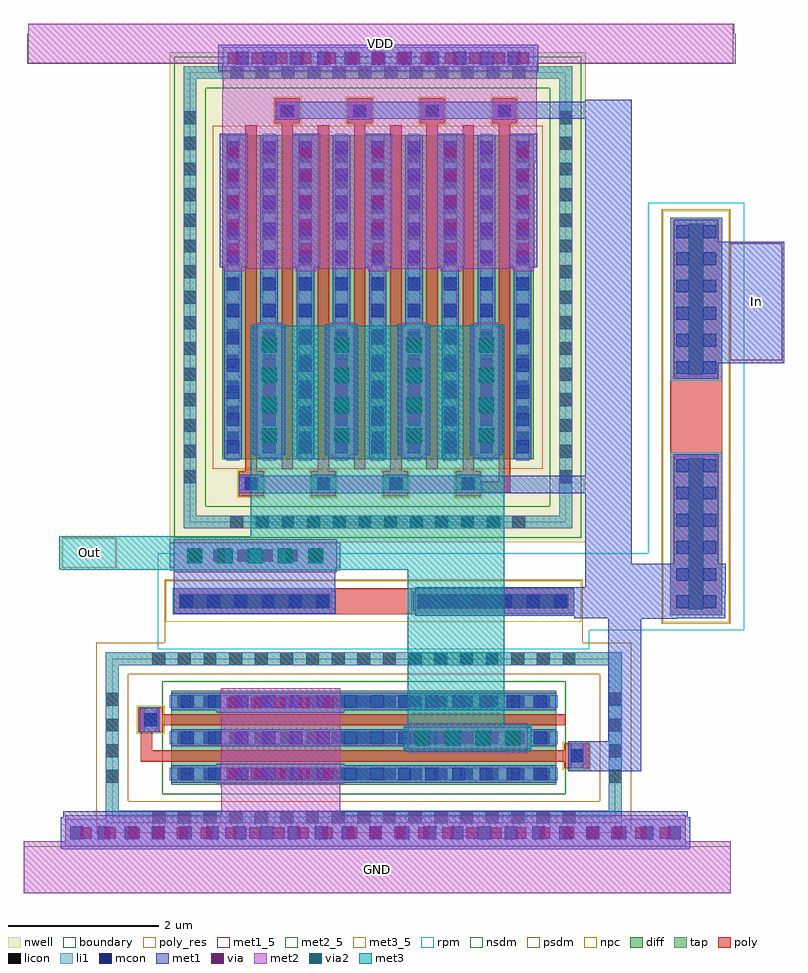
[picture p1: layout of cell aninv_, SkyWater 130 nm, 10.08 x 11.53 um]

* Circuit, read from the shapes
.subckt aninv_ GND In Out VDD
XM1 Out n1 GND GND sky130_fd_pr__nfet_01v8 w=5.1 l=0.15 m=2
XM2 Out n1 VDD VDD sky130_fd_pr__pfet_01v8 w=4.3 l=0.15 m=8
XR3 n1 Out GND sky130_fd_pr__res_high_po w=0.35 l=1
XR4 In n1 GND sky130_fd_pr__res_high_po w=0.69 l=0.95
.ends

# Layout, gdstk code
from math import pi, radians
import gdstk
lib = gdstk.Library(unit=1e-6, precision=1e-09)
def R(c, l, rs):  # rectangles x0, y0, x1, y1
    for r in rs: c.add(gdstk.rectangle(r[:2], r[2:], *l))
def A(c, l, x, y, w, h, nx, ny, dx, dy):  # array of equal rectangles
    R(c, l, [(x+i*dx, y+j*dy, x+i*dx+w, y+j*dy+h) for i in range(nx) for j in range(ny)])
nwell = (64, 20)
diff = (65, 20)
tap = (65, 44)
poly_res = (66, 13)
poly = (66, 20)
licon = (66, 44)
li1 = (67, 20)
mcon = (67, 44)
met1_5 = (68, 5)
met1 = (68, 20)
via = (68, 44)
met2_5 = (69, 5)
met2 = (69, 20)
via2 = (69, 44)
met3_5 = (70, 5)
met3 = (70, 20)
rpm = (86, 20)
nsdm = (93, 44)
psdm = (94, 20)
npc = (95, 20)
boundary = (235, 4)

sky130_fd_pr__res_high_p = lib.new_cell('sky130_fd_pr__res_high_po_0p69_7JPRER')
R(sky130_fd_pr__res_high_p, poly_res, [(-0.345,-0.535,0.345,0.535)])
R(sky130_fd_pr__res_high_p, poly, [(-0.345,-2.635,0.345,2.635)])
R(sky130_fd_pr__res_high_p, licon, [(-0.095,-2.555,0.095,-0.555), (-0.095,0.555,0.095,2.555)])
R(sky130_fd_pr__res_high_p, li1, [(-0.345,-2.635,0.345,-0.475), (-0.345,0.475,0.345,2.635)])
A(sky130_fd_pr__res_high_p, mcon, -0.265, -2.54, 0.17, 0.17, 1, 6, 0, 0.36)
A(sky130_fd_pr__res_high_p, mcon, 0.095, -2.54, 0.17, 0.17, 1, 6, 0, 0.36)
A(sky130_fd_pr__res_high_p, mcon, -0.265, 0.565, 0.17, 0.17, 1, 6, 0, 0.36)
A(sky130_fd_pr__res_high_p, mcon, 0.095, 0.565, 0.17, 0.17, 1, 6, 0, 0.36)
R(sky130_fd_pr__res_high_p, met1, [(-0.295,-2.605,0.295,-0.5), (-0.295,0.5,0.295,2.605)])
R(sky130_fd_pr__res_high_p, rpm, [(-0.635,-2.835,0.635,2.835)])
R(sky130_fd_pr__res_high_p, psdm, [(-0.455,-2.745,0.455,2.745)])
R(sky130_fd_pr__res_high_p, npc, [(-0.44,-2.73,0.44,2.73)])

c_sky130_fd_pr__res_high_p = lib.new_cell('sky130_fd_pr__res_high_po_0p35_C72MAQ')
R(c_sky130_fd_pr__res_high_p, poly_res, [(-0.175,-0.56,0.175,0.56)])
R(c_sky130_fd_pr__res_high_p, poly, [(-0.175,-2.66,0.175,2.66)])
R(c_sky130_fd_pr__res_high_p, licon, [(-0.095,-2.58,0.095,-0.58), (-0.095,0.58,0.095,2.58)])
R(c_sky130_fd_pr__res_high_p, li1, [(-0.175,-2.66,0.175,-0.5), (-0.175,0.5,0.175,2.66)])
A(c_sky130_fd_pr__res_high_p, mcon, -0.085, -2.565, 0.17, 0.17, 1, 6, 0, 0.36)
A(c_sky130_fd_pr__res_high_p, mcon, -0.085, 0.59, 0.17, 0.17, 1, 6, 0, 0.36)
R(c_sky130_fd_pr__res_high_p, met1, [(-0.125,-2.63,0.125,-0.525), (-0.125,0.525,0.125,2.63)])
R(c_sky130_fd_pr__res_high_p, rpm, [(-0.635,-2.86,0.635,2.86)])
R(c_sky130_fd_pr__res_high_p, psdm, [(-0.285,-2.77,0.285,2.77)])
R(c_sky130_fd_pr__res_high_p, npc, [(-0.27,-2.755,0.27,2.755)])

sky130_fd_pr__pfet_01v8_ = lib.new_cell('sky130_fd_pr__pfet_01v8_396TWK')
R(sky130_fd_pr__pfet_01v8_, nwell, [(-2.755,-3.245,2.755,3.245)])
R(sky130_fd_pr__pfet_01v8_, diff, [(-2.065,-2.15,2.065,2.15)])
R(sky130_fd_pr__pfet_01v8_, tap, [(-2.575,-3.065,2.575,-2.895), (-2.575,-2.895,-2.405,2.895), (2.405,-2.895,2.575,2.895), (-2.575,2.895,2.575,3.065)])
A(sky130_fd_pr__pfet_01v8_, poly, -1.845, -2.635, 0.33, 0.33, 4, 1, 0.96, 0)
A(sky130_fd_pr__pfet_01v8_, poly, -1.755, -2.305, 0.15, 4.585, 4, 1, 0.96, 0)
A(sky130_fd_pr__pfet_01v8_, poly, -1.275, -2.28, 0.15, 4.585, 4, 1, 0.96, 0)
A(sky130_fd_pr__pfet_01v8_, poly, -1.365, 2.305, 0.33, 0.33, 4, 1, 0.96, 0)
A(sky130_fd_pr__pfet_01v8_, licon, -1.955, -3.065, 0.17, 0.17, 12, 2, 0.34, 5.96)
A(sky130_fd_pr__pfet_01v8_, licon, -1.765, -2.555, 0.17, 0.17, 4, 1, 0.96, 0)
A(sky130_fd_pr__pfet_01v8_, licon, -2.575, -2.465, 0.17, 0.17, 1, 15, 0, 0.34)
A(sky130_fd_pr__pfet_01v8_, licon, 2.405, -2.465, 0.17, 0.17, 1, 15, 0, 0.34)
A(sky130_fd_pr__pfet_01v8_, licon, -2.005, -1.955, 0.17, 0.17, 9, 12, 0.48, 0.34)
A(sky130_fd_pr__pfet_01v8_, licon, -1.285, 2.385, 0.17, 0.17, 4, 1, 0.96, 0)
A(sky130_fd_pr__pfet_01v8_, li1, -1.845, -2.555, 0.33, 0.17, 4, 1, 0.96, 0)
A(sky130_fd_pr__pfet_01v8_, li1, -2.005, -2.17, 0.17, 4.34, 9, 1, 0.48, 0)
A(sky130_fd_pr__pfet_01v8_, li1, -1.365, 2.385, 0.33, 0.17, 4, 1, 0.96, 0)
R(sky130_fd_pr__pfet_01v8_, li1, [(-2.575,-3.065,2.575,-2.895), (-2.575,-2.895,-2.405,2.895), (2.405,-2.895,2.575,2.895), (-2.575,2.895,2.575,3.065)])
A(sky130_fd_pr__pfet_01v8_, mcon, -1.765, -2.555, 0.17, 0.17, 4, 1, 0.96, 0)
A(sky130_fd_pr__pfet_01v8_, mcon, -2.005, -2.065, 0.17, 0.17, 9, 12, 0.48, 0.36)
A(sky130_fd_pr__pfet_01v8_, mcon, -1.285, 2.385, 0.17, 0.17, 4, 1, 0.96, 0)
A(sky130_fd_pr__pfet_01v8_, met1, -1.825, -2.585, 0.29, 0.23, 4, 1, 0.96, 0)
A(sky130_fd_pr__pfet_01v8_, met1, -2.035, -2.15, 0.23, 4.3, 9, 1, 0.48, 0)
A(sky130_fd_pr__pfet_01v8_, met1, -1.345, 2.355, 0.29, 0.23, 4, 1, 0.96, 0)
R(sky130_fd_pr__pfet_01v8_, nsdm, [(-2.7,-3.19,2.7,-2.77), (-2.7,-2.77,-2.28,2.77), (2.28,-2.77,2.7,2.77), (-2.7,2.77,2.7,3.19)])
R(sky130_fd_pr__pfet_01v8_, psdm, [(-2.19,-2.275,2.19,2.275)])
A(sky130_fd_pr__pfet_01v8_, npc, -1.865, -2.655, 0.37, 0.37, 4, 1, 0.96, 0)
A(sky130_fd_pr__pfet_01v8_, npc, -1.385, 2.285, 0.37, 0.37, 4, 1, 0.96, 0)
R(sky130_fd_pr__pfet_01v8_, boundary, [(-2.49,-2.98,2.49,2.98)])

sky130_fd_pr__nfet_01v8_ = lib.new_cell('sky130_fd_pr__nfet_01v8_XG2GE7')
R(sky130_fd_pr__nfet_01v8_, diff, [(-0.625,-2.55,0.625,2.55)])
R(sky130_fd_pr__nfet_01v8_, tap, [(-1.135,-3.42,1.135,-3.25), (-1.135,-3.25,-0.965,3.25), (0.965,-3.25,1.135,3.25), (-1.135,3.25,1.135,3.42)])
R(sky130_fd_pr__nfet_01v8_, poly, [(-0.405,-2.99,-0.075,-2.66), (0.165,-2.68,0.315,2.66), (-0.315,-2.66,-0.165,2.68), (0.075,2.66,0.405,2.99)])
A(sky130_fd_pr__nfet_01v8_, licon, -0.595, -3.42, 0.17, 0.17, 4, 2, 0.34, 6.67)
A(sky130_fd_pr__nfet_01v8_, licon, -1.135, -2.805, 0.17, 0.17, 1, 17, 0, 0.34)
A(sky130_fd_pr__nfet_01v8_, licon, 0.965, -2.805, 0.17, 0.17, 1, 17, 0, 0.34)
A(sky130_fd_pr__nfet_01v8_, licon, -0.565, -2.465, 0.17, 0.17, 3, 15, 0.48, 0.34)
R(sky130_fd_pr__nfet_01v8_, licon, [(-0.325,-2.91,-0.155,-2.74), (0.155,2.74,0.325,2.91)])
A(sky130_fd_pr__nfet_01v8_, li1, -0.565, -2.57, 0.17, 5.14, 3, 1, 0.48, 0)
R(sky130_fd_pr__nfet_01v8_, li1, [(-1.135,-3.42,1.135,-3.25), (-1.135,-3.25,-0.965,3.25), (0.965,-3.25,1.135,3.25), (-0.405,-2.91,-0.075,-2.74), (0.075,2.74,0.405,2.91), (-1.135,3.25,1.135,3.42)])
A(sky130_fd_pr__nfet_01v8_, mcon, -0.565, -2.425, 0.17, 0.17, 3, 14, 0.48, 0.36)
R(sky130_fd_pr__nfet_01v8_, mcon, [(-0.325,-2.91,-0.155,-2.74), (0.155,2.74,0.325,2.91)])
A(sky130_fd_pr__nfet_01v8_, met1, -0.595, -2.55, 0.23, 5.1, 3, 1, 0.48, 0)
R(sky130_fd_pr__nfet_01v8_, met1, [(-0.385,-2.94,-0.095,-2.71), (0.095,2.71,0.385,2.94)])
R(sky130_fd_pr__nfet_01v8_, nsdm, [(-0.75,-2.675,0.75,2.675)])
R(sky130_fd_pr__nfet_01v8_, psdm, [(-1.26,-3.545,1.26,-3.125), (-1.26,-3.125,-0.84,3.125), (0.84,-3.125,1.26,3.125), (-1.26,3.125,1.26,3.545)])
R(sky130_fd_pr__nfet_01v8_, npc, [(-0.425,-3.01,-0.055,-2.64), (0.055,2.64,0.425,3.01)])
R(sky130_fd_pr__nfet_01v8_, boundary, [(-1.05,-3.335,1.05,3.335)])

aninv_ = lib.new_cell('aninv_')
R(aninv_, poly, [(1.235,-1.86,1.59,-1.71), (1.235,-1.71,1.385,-1.405), (5.635,1.705,6.13,1.835), (5.715,1.835,6.13,1.855), (5.98,1.855,6.13,2.145)])
R(aninv_, li1, [(0.235,-2.985,8.455,-2.625), (2.32,7.32,6.44,7.61)])
A(aninv_, mcon, 0.3, -2.89, 0.17, 0.17, 23, 1, 0.36, 0)
A(aninv_, mcon, 2.495, 7.38, 0.17, 0.17, 11, 1, 0.36, 0)
R(aninv_, met1_5, [(9.05,3.46,9.74,5.01)])
A(aninv_, met1, 2.72, 2.21, 0.43, 1.7, 4, 1, 0.96, 0)
A(aninv_, met1, 2.28, 4.69, 0.37, 1.77, 5, 1, 0.96, 0)
R(aninv_, met1, [(0.205,-3.025,8.485,-3.015), (0.175,-3.015,8.515,-2.595), (0.205,-2.595,8.485,-2.52), (2.24,-2.15,3.93,-1.89), (6.9,-1.99,7.87,-1.59), (4.72,-1.7,6.41,-1.4), (7.43,-1.59,7.87,0.03), (1.22,-1.47,1.48,-1.15), (2.24,-1.21,3.93,-0.95), (7.43,0.03,8.33,0.04), (6.98,0.04,8.98,0.07), (4.87,0.07,8.98,0.37), (1.67,0.1,3.81,0.7), (4.87,0.37,8.99,0.45), (7.125,0.45,8.99,0.76), (1.62,0.7,3.88,1.04), (7.125,0.76,8.525,0.765), (7.125,0.765,7.74,1.7), (2.53,1.7,7.74,1.93), (7.125,1.93,7.74,6.66), (8.3,3.42,9.76,5.03), (3.03,6.66,7.74,6.89), (7.125,6.89,7.74,6.915), (2.26,7.29,6.5,7.64)])
A(aninv_, via, 0.43, -2.88, 0.15, 0.15, 25, 1, 0.32, 0)
A(aninv_, via, 2.37, -2.095, 0.15, 0.15, 5, 2, 0.32, 0.94)
A(aninv_, via, 4.85, -1.625, 0.15, 0.15, 5, 1, 0.32, 0)
A(aninv_, via, 1.875, 0.795, 0.15, 0.15, 6, 1, 0.32, 0)
A(aninv_, via, 2.86, 2.345, 0.15, 0.15, 4, 5, 0.96, 0.32)
A(aninv_, via, 2.39, 4.86, 0.15, 0.15, 5, 5, 0.96, 0.32)
A(aninv_, via, 2.385, 7.39, 0.15, 0.15, 13, 1, 0.32, 0)
R(aninv_, met2_5, [(-0.315,-3.605,9.055,-2.985), (-0.26,7.4,9.09,7.92)])
A(aninv_, met2, 2.77, 2.16, 0.33, 1.8, 4, 1, 0.96, 0)
A(aninv_, met2, 2.33, 4.64, 0.27, 0.03, 5, 1, 0.96, 0)
R(aninv_, met2, [(-0.315,-3.605,9.055,-2.915), (0.235,-2.915,8.455,-2.575), (2.3,-2.575,3.88,-2.2), (2.29,-2.2,3.88,-1.84), (2.3,-1.84,3.88,-1.26), (4.77,-1.75,6.36,-1.35), (2.29,-1.26,3.88,-0.9), (2.3,-0.9,3.88,-0.89), (1.67,0.65,3.83,1.09), (2.31,4.67,6.45,6.1), (2.31,6.1,6.48,7.04), (2.32,7.04,6.48,7.23), (2.31,7.23,6.48,7.39), (-0.27,7.39,9.12,7.79), (-0.26,7.79,9.1,7.92)])
A(aninv_, via2, 4.865, -1.65, 0.2, 0.2, 4, 1, 0.4, 0)
A(aninv_, via2, 1.85, 0.77, 0.2, 0.2, 5, 1, 0.4, 0)
A(aninv_, via2, 2.835, 2.36, 0.2, 0.2, 4, 4, 0.96, 0.4)
R(aninv_, met3_5, [(0.19,0.71,0.91,1.11)])
A(aninv_, met3, 2.72, 3.92, 0.43, 0.015, 4, 1, 0.96, 0)
R(aninv_, met3, [(4.77,-1.73,6.05,-1.725), (4.72,-1.725,6.41,-1.375), (4.77,-1.375,6.05,0.68), (1.62,0.675,3.88,0.68), (0.175,0.68,6.05,0.69), (0.15,0.69,6.05,1.13), (2.69,1.13,6.05,3.92)])
R(aninv_, rpm, [(7.18,-0.12,7.96,0.9)])
R(aninv_, psdm, [(1.55,-0.285,7.09,-0.02)])
aninv_.add(gdstk.Reference(sky130_fd_pr__res_high_p, (8.595,2.715)))
aninv_.add(gdstk.Reference(c_sky130_fd_pr__res_high_p, (4.32,0.265), rotation=3*pi/2))
aninv_.add(gdstk.Reference(sky130_fd_pr__pfet_01v8_, (4.375,4.295)))
aninv_.add(gdstk.Reference(sky130_fd_pr__nfet_01v8_, (4.19,-1.545), rotation=3*pi/2))
aninv_.add(gdstk.Label('VDD', (4.415,7.66), layer=69, texttype=5))
aninv_.add(gdstk.Label('GND', (4.37,-3.295), layer=69, texttype=5))
aninv_.add(gdstk.Label('In', (9.395,4.235), layer=68, texttype=5))
aninv_.add(gdstk.Label('Out', (0.55,0.91), layer=70, texttype=5))

lib.write_gds('aninv_.gds')
